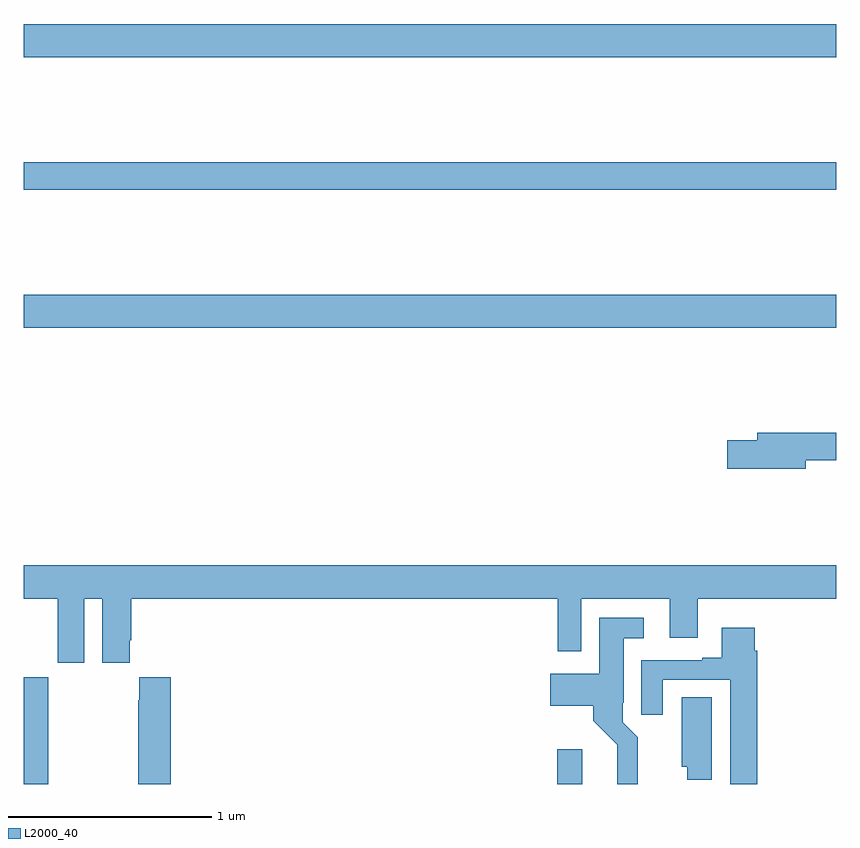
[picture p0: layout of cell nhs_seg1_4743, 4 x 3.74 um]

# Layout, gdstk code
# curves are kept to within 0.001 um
import gdstk
lib = gdstk.Library(unit=1e-6, precision=1e-09)
def R(c, l, rs):  # rectangles x0, y0, x1, y1
    for r in rs: c.add(gdstk.rectangle(r[:2], r[2:], *l))
def P(c, l, *ps):  # polygons
    for p in ps: c.add(gdstk.Polygon(p, *l))
L2000_40 = (2000, 40)

nhs_seg1_4743 = lib.new_cell('nhs_seg1_4743')
R(nhs_seg1_4743, L2000_40, [(369,504.199,369.12,504.724), (371.627,504.199,371.749,504.37), (369,506.444,373,506.608), (369,507.124,373,507.26), (369,507.776,373,507.94)])
P(nhs_seg1_4743, L2000_40, [(372.85,505.792),(373,505.792),(373,505.928),(372.611,505.928),(372.611,505.892),(372.462,505.892),(372.462,505.75),(372.85,505.75)],
  [(369.298,505.112),(369.386,505.112),(369.386,504.795),(369.523,504.795),(369.523,504.907),(369.53,504.907),(369.53,505.112),(371.629,505.112),(371.629,504.852),(371.745,504.852),(371.745,505.112),(372.179,505.112),(372.179,504.918),(372.319,504.918),(372.319,505.112),(373,505.112),(373,505.276),(369,505.276),(369,505.112),(369.167,505.112),(369.167,504.795),(369.298,504.795)],
  [(372.023,504.43),(371.949,504.504),(371.949,504.598),(371.953,504.598),(371.953,504.917),(372.052,504.917),(372.052,505.018),(371.834,505.018),(371.834,504.742),(371.592,504.742),(371.592,504.584),(371.804,504.584),(371.804,504.51),(371.922,504.392),(371.921,504.199),(372.023,504.199)],
  [(372.611,504.854),(372.598,504.854),(372.598,504.967),(372.437,504.967),(372.437,504.82),(372.341,504.82),(372.341,504.807),(372.041,504.807),(372.041,504.54),(372.145,504.54),(372.145,504.711),(372.479,504.711),(372.479,504.199),(372.611,504.199)],
  [(369.725,504.724),(369.569,504.724),(369.569,504.611),(369.565,504.611),(369.565,504.199),(369.725,504.199)],
  [(372.388,504.626),(372.239,504.626),(372.239,504.285),(372.266,504.285),(372.266,504.221),(372.388,504.221)])

lib.write_gds('nhs_seg1_4743.gds')
